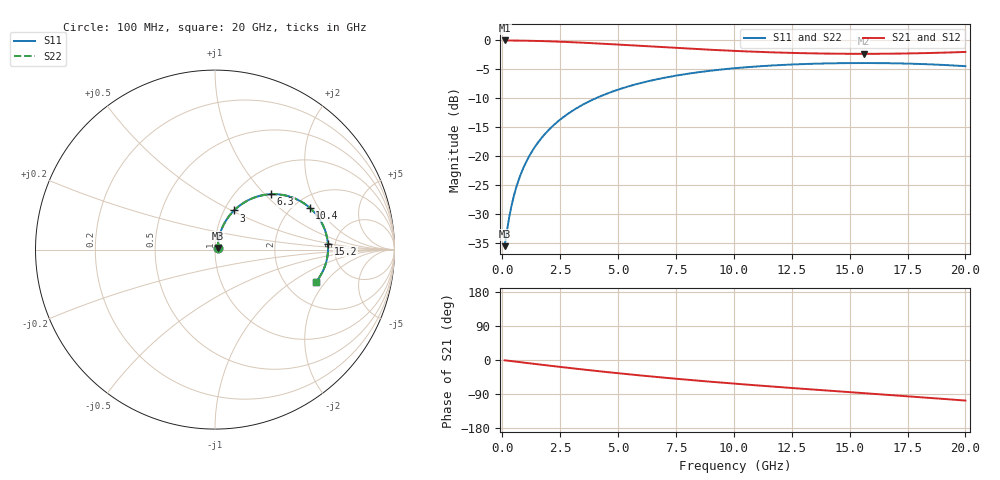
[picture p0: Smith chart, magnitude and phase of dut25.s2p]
! Touchstone file exported from HFSS 2026.1.0
!  File:  C:/ffzhzh/LocalFiles/Ansys_Project_Files/temp_train_TSV_RDL_25_1782963239_45308.aedt
!  Generated:  11:50:59 AM Jul  2, 2026
!  Design:  TSV_RDL
!  Project:  temp_train_TSV_RDL_25_1782963239_45308
! Variables:
!  h_bsmrdl = 5.81um
!  h_ox = 20um
!  h_rdl = 5um
!  h_sub = 92.76um
!  h_tmrdl = 2.84um
!  h_tsv = 92.76um
!  h_via = 3um
!  l_bsmrdl = 250.83um
!  l_sub = 1677.14um
!  l_tmrdl = 103.87um
!  m_sub = 200um
!  pitch = 56.49um
!  r_tsv = 2.97um
!  s_tmrdl = 10um
!  w_bsmrdl = 21.28um
!  w_sub = 500um
!  w_tmrdl = 15.11um
!  x_tsv_center1 = 111.425um
!  x_tsv_center2 = 383.535um
!  x_tsv_center3 = 502.515um
!  x_tsv_center4 = 774.625um
!  x_tsv_center5 = 893.605um
!  x_tsv_center6 = 1165.715um
# GHz S MA R 50.000000
! Terminal data exported
! Port[1] = TM_RDL1_1_T1
! Port[2] = TM_RDL5_1_T1
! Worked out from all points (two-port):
!   200 points, 100 MHz to 20 GHz, reference 50 ohm
!   highest |S21| = -0.12 dB at 100 MHz (marker M1); lowest = -2.4 dB at 15.6 GHz (marker M2)
!   |S21| within 3 dB of the highest: start of sweep to end of sweep
!   lowest |S11| = -35.5 dB at 100 MHz (marker M3), VSWR 1.03, Z = 51.4 + j0.884 ohm
!   |S11| at or under -10 dB: start of sweep to 4.083 GHz
!   |S22| runs from -35.5 to -4.0 dB; largest |S21 - S12| = 2.1e-14
!   S11 on the Smith chart (normalised r, x): 100 MHz: 1.03, +0.02; 3 GHz: 1.11, +0.51; 6.3 GHz: 1.42, +1.09; 10.4 GHz: 2.40, +1.68; 15.2 GHz: 4.35, +0.48; 20 GHz: 2.93, -1.61
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0.1  0.01669 31.0  0.9858 -0.8  0.9858 -0.8  0.01669 31.0
! Gamma 0 0 0 0
! Port Impedance 50 0 50 0
0.3  0.02973 58.4  0.9851 -2.3  0.9851 -2.3  0.02973 58.4
0.5  0.04531 67.2  0.9843 -3.7  0.9843 -3.7  0.04531 67.2
0.7  0.06151 70.7  0.9833 -5.2  0.9833 -5.2  0.06151 70.7
1  0.08612 72.4  0.9812 -7.4  0.9812 -7.4  0.08612 72.4
1.4  0.1188 72.1  0.9775 -10.4  0.9775 -10.4  0.1188 72.1
1.8  0.151 70.6  0.9726 -13.3  0.9726 -13.3  0.151 70.6
2.4  0.1978 67.6  0.9636 -17.6  0.9636 -17.6  0.1978 67.6
3  0.2423 64.1  0.9527 -21.8  0.9527 -21.8  0.2423 64.1
3.5  0.2775 61.1  0.9426 -25.2  0.9426 -25.2  0.2775 61.1
4.8  0.3602 53.2  0.9133 -33.6  0.9133 -33.6  0.3602 53.2
6.3  0.4393 44.6  0.8777 -42.7  0.8777 -42.7  0.4393 44.6
6.8  0.4619 41.9  0.866 -45.6  0.866 -45.6  0.4619 41.9
8.3  0.5194 34.0  0.8332 -53.7  0.8332 -53.7  0.5194 34.0
10.1  0.5701 25.3  0.8002 -62.8  0.8002 -62.8  0.5701 25.3
10.4  0.5769 23.9  0.7956 -64.2  0.7956 -64.2  0.5769 23.9
13.4  0.6211 10.6  0.763 -77.9  0.763 -77.9  0.6211 10.6
15.2  0.6298 3.0  0.7563 -85.7  0.7563 -85.7  0.6298 3.0
15.6  0.6301 1.3  0.7561 -87.4  0.7561 -87.4  0.6301 1.3
16.7  0.6277 -3.3  0.7581 -92.2  0.7581 -92.2  0.6277 -3.3
18.4  0.6148 -10.5  0.7681 -99.7  0.7681 -99.7  0.6148 -10.5
20  0.5916 -17.6  0.785 -107.1  0.785 -107.1  0.5916 -17.6
